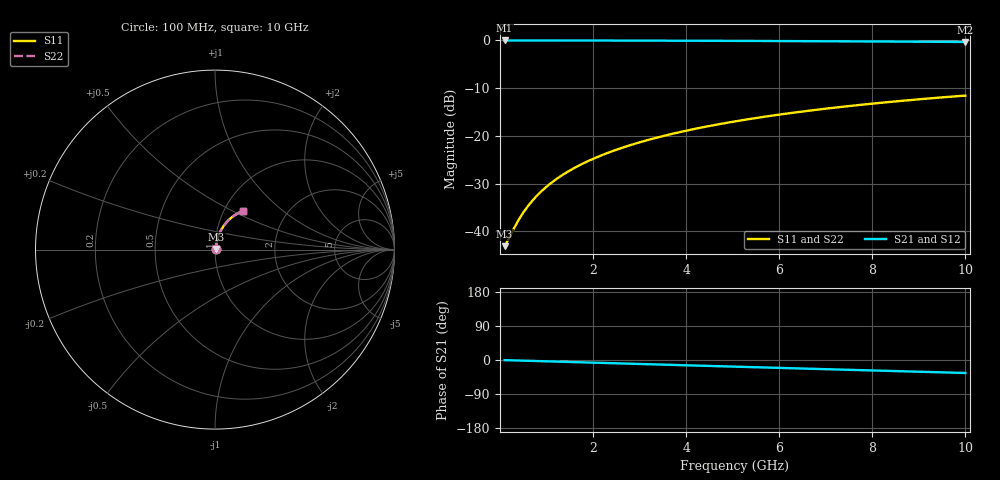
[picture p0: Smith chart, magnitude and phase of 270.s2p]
# Hz S RI R 50.00
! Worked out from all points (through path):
!   100 points, 100 MHz to 10 GHz, reference 50 ohm
!   highest |S21| = -0.06 dB at 100 MHz (marker M1); lowest = -0.4 dB at 10 GHz (marker M2)
!   group delay of S21, straight-line fit = 9.53 ps
!   lowest |S11| = -43.1 dB at 100 MHz (marker M3), VSWR 1.01, Z = 50.6 + j0.286 ohm
!   |S11| at or under -10 dB: start of sweep to end of sweep
!   |S22| runs from -43.1 to -11.6 dB; largest |S21 - S12| = 0
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1e8  0.0064 0.00282  0.9936 -0.00606  0.9936 -0.00606  0.0064 0.00282
2e8  0.0065 0.00564  0.9935 -0.0121  0.9935 -0.0121  0.0065 0.00564
3e8  0.00661 0.00845  0.9933 -0.0182  0.9933 -0.0182  0.00661 0.00845
4e8  0.00676 0.0113  0.9931 -0.0242  0.9931 -0.0242  0.00676 0.0113
5e8  0.00693 0.0141  0.9929 -0.0303  0.9929 -0.0303  0.00693 0.0141
6e8  0.00714 0.0169  0.9927 -0.0363  0.9927 -0.0363  0.00714 0.0169
7e8  0.00738 0.0197  0.9923 -0.0424  0.9923 -0.0424  0.00738 0.0197
8e8  0.00765 0.0225  0.992 -0.0484  0.992 -0.0484  0.00765 0.0225
1e9  0.0083 0.0281  0.9911 -0.0605  0.9911 -0.0605  0.0083 0.0281
1.2e9  0.00907 0.0337  0.9901 -0.0726  0.9901 -0.0726  0.00907 0.0337
1.5e9  0.0105 0.042  0.9883 -0.0906  0.9883 -0.0906  0.0105 0.042
1.8e9  0.0122 0.0503  0.986 -0.1086  0.986 -0.1086  0.0122 0.0503
2.1e9  0.0142 0.0584  0.9834 -0.1266  0.9834 -0.1266  0.0142 0.0584
2.5e9  0.0174 0.0692  0.9793 -0.1503  0.9793 -0.1503  0.0174 0.0692
2.9e9  0.021 0.0798  0.9745 -0.1739  0.9745 -0.1739  0.021 0.0798
3.4e9  0.0263 0.0928  0.9675 -0.2031  0.9675 -0.2031  0.0263 0.0928
4.2e9  0.0363 0.1127  0.9542 -0.249  0.9542 -0.249  0.0363 0.1127
5.1e9  0.0497 0.1337  0.9363 -0.2993  0.9363 -0.2993  0.0497 0.1337
5.9e9  0.0634 0.151  0.9178 -0.3426  0.9178 -0.3426  0.0634 0.151
6.7e9  0.0786 0.1668  0.8971 -0.3844  0.8971 -0.3844  0.0786 0.1668
8.4e9  0.1151 0.195  0.8465 -0.4679  0.8465 -0.4679  0.1151 0.195
1e10  0.1533 0.2141  0.7919 -0.539  0.7919 -0.539  0.1533 0.2141
